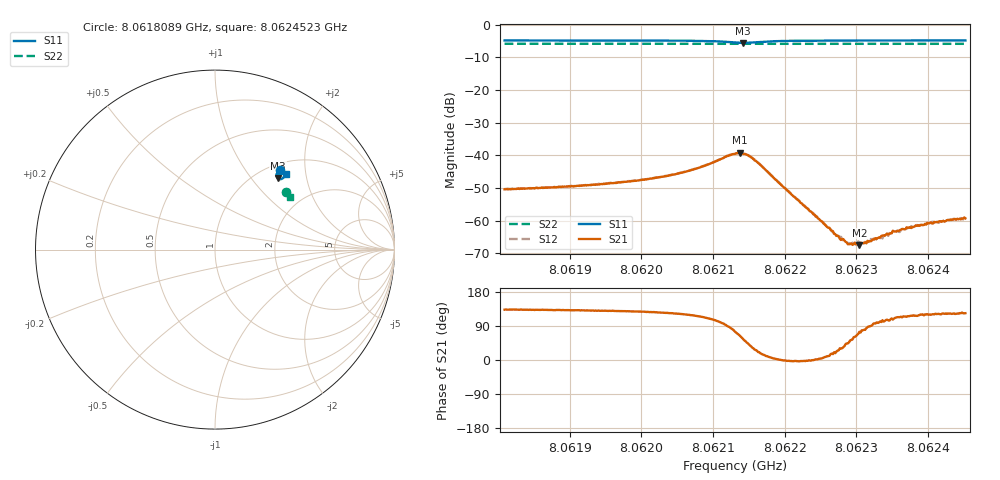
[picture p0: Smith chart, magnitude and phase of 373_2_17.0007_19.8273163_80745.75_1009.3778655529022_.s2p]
#  HZ  S  RI  R  50.00
! Rohde & Schwarz Vector Network Analyzer
! Rohde-Schwarz,ZNB20-2Port,1311601062101988,3.16
! Created: UTC 3/20/2024, 11:08:49 PM
! freq[Hz]  re:S11  im:S11  re:S21  im:S21  re:S12  im:S12  re:S22  im:S22
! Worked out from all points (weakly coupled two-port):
!   401 points, 8.0618089 GHz to 8.0624523 GHz, reference 50 ohm
!   highest |S21| = -39.18 dB at 8.062137 GHz (marker M1); lowest = -67.4 dB at 8.0623043 GHz (marker M2)
!   lowest |S11| = -5.5 dB at 8.0621418 GHz (marker M3), VSWR 3.25, Z = 62.1 + j68.6 ohm
!   |S11| at or under -10 dB: nowhere
!   |S22| runs from -5.9 to -5.8 dB; largest |S21 - S12| = 0.00079
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8.06180889e9  0.3648 0.4457  -0.00206 0.00222  -0.00198 0.00235  0.3976 0.3231
8.06191666e9  0.3723 0.4392  -0.00226 0.00258  -0.00212 0.00276  0.4018 0.3178
8.06202442e9  0.3807 0.4294  -0.00268 0.00376  -0.00242 0.00395  0.4057 0.3122
8.06207429e9  0.385 0.4197  -0.0028 0.00548  -0.00248 0.00572  0.4075 0.3093
8.06213058e9  0.3658 0.3926  0.00277 0.0102  0.00341 0.0102  0.4082 0.3058
8.06213702e9  0.3571 0.3936  0.0047 0.00994  0.00532 0.00946  0.4081 0.3056
8.06214184e9  0.3508 0.397  0.00597 0.0087  0.00663 0.00862  0.408 0.3057
8.06214988e9  0.3438 0.4063  0.00736 0.00649  0.00791 0.00609  0.4081 0.3057
8.06216114e9  0.3434 0.4202  0.00726 0.00334  0.00756 0.00286  0.4087 0.3059
8.06223835e9  0.3725 0.4346  0.00133 -8.5e-06  0.00133 -8.27e-05  0.4127 0.3026
8.0622673e9  0.3773 0.4327  0.000666 0.000184  0.000646 0.000157  0.4139 0.3008
8.06227535e9  0.3784 0.4322  0.000515 0.000244  0.00056 0.000225  0.4143 0.3004
8.062285e9  0.3795 0.4314  0.000352 0.000319  0.000384 0.000308  0.4145 0.2998
8.06229143e9  0.3801 0.4312  0.000271 0.000344  0.000305 0.000328  0.4148 0.2997
8.0623043e9  0.3815 0.4303  0.000114 0.00041  0.000165 0.000433  0.4152 0.2988
8.06231556e9  0.3826 0.4295  3.02e-05 0.000491  3.54e-05 0.000465  0.4158 0.2983
8.0623236e9  0.3835 0.4289  -5.08e-05 0.000517  1.1e-05 0.000528  0.4161 0.2979
8.06233325e9  0.3844 0.4286  -0.000113 0.000544  -9.52e-05 0.000531  0.4163 0.2975
8.06234612e9  0.3854 0.4276  -0.000151 0.000611  -0.000189 0.00062  0.4169 0.2966
8.06237185e9  0.3875 0.4261  -0.000339 0.000704  -0.0003 0.00071  0.4178 0.2954
8.06240402e9  0.3898 0.4242  -0.000461 0.000821  -0.000436 0.000829  0.4188 0.2938
8.06245228e9  0.393 0.4215  -0.0006 0.000906  -0.000537 0.000946  0.4205 0.2913
